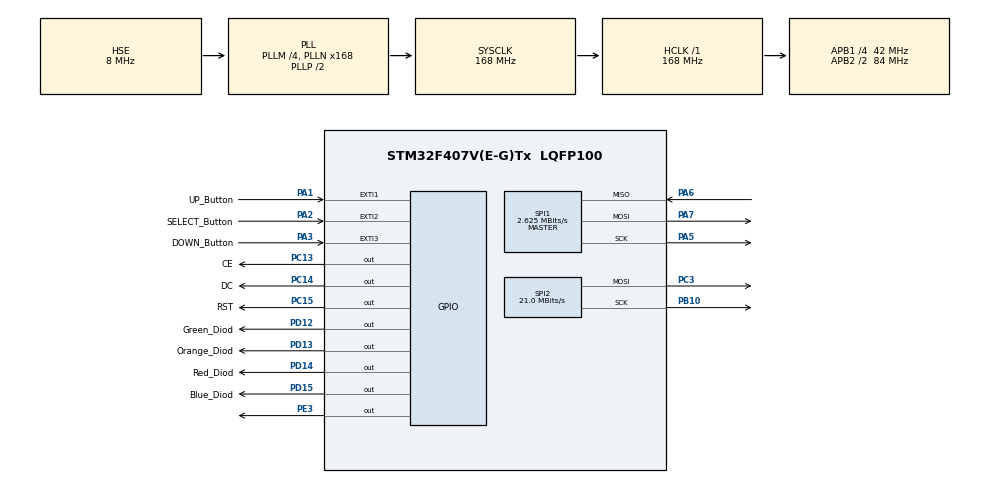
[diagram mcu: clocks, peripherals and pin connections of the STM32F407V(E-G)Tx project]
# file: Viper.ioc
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Mcu.Family=STM32F4
Mcu.Name=STM32F407V(E-G)Tx
Mcu.Package=LQFP100
NVIC.EXTI1_IRQn=true\:0\:0\:false\:false\:true\:true\:true
NVIC.EXTI2_IRQn=true\:0\:0\:false\:false\:true\:true\:true
NVIC.EXTI3_IRQn=true\:0\:0\:false\:false\:true\:true\:true
NVIC.PriorityGroup=NVIC_PRIORITYGROUP_4
NVIC.TIM4_IRQn=true\:0\:0\:false\:false\:true\:true\:true
PA1.GPIO_Label=UP_Button
PA1.GPIO_PuPd=GPIO_PULLDOWN
PA1.Signal=GPXTI1
PA2.GPIO_Label=SELECT_Button
PA2.GPIO_PuPd=GPIO_PULLDOWN
PA2.Signal=GPXTI2
PA3.GPIO_Label=DOWN_Button
PA3.GPIO_PuPd=GPIO_PULLDOWN
PA3.Signal=GPXTI3
PA5.Mode=Full_Duplex_Master
PA5.Signal=SPI1_SCK
PA6.Mode=Full_Duplex_Master
PA6.Signal=SPI1_MISO
PA7.Mode=Full_Duplex_Master
PA7.Signal=SPI1_MOSI
PB10.Mode=TX_Only_Simplex_Unidirect_Master
PB10.Signal=SPI2_SCK
PC13-ANTI_TAMP.GPIO_Label=CE
PC13-ANTI_TAMP.Signal=GPIO_Output
PC14-OSC32_IN.GPIO_Label=DC
PC14-OSC32_IN.Signal=GPIO_Output
PC15-OSC32_OUT.GPIO_Label=RST
PC15-OSC32_OUT.Signal=GPIO_Output
PC3.Mode=TX_Only_Simplex_Unidirect_Master
PC3.Signal=SPI2_MOSI
PD12.GPIO_Label=Green_Diod
PD12.Signal=GPIO_Output
PD13.GPIO_Label=Orange_Diod
PD13.Signal=GPIO_Output
PD14.GPIO_Label=Red_Diod
PD14.Signal=GPIO_Output
PD15.GPIO_Label=Blue_Diod
PD15.Signal=GPIO_Output
PE3.Signal=GPIO_Output
PH0-OSC_IN.Mode=HSE-External-Oscillator
PH0-OSC_IN.Signal=RCC_OSC_IN
PH1-OSC_OUT.Mode=HSE-External-Oscillator
PH1-OSC_OUT.Signal=RCC_OSC_OUT
ProjectManager.HeapSize=0x200
ProjectManager.StackSize=0x400
ProjectManager.TargetToolchain=SW4STM32
RCC.48MHZClocksFreq_Value=84000000
RCC.AHBFreq_Value=168000000
RCC.APB1CLKDivider=RCC_HCLK_DIV4
RCC.APB1Freq_Value=42000000
RCC.APB1TimFreq_Value=84000000
RCC.APB2CLKDivider=RCC_HCLK_DIV2
RCC.APB2Freq_Value=84000000
RCC.APB2TimFreq_Value=168000000
RCC.CortexFreq_Value=168000000
RCC.HCLKFreq_Value=168000000
RCC.HSE_VALUE=8000000
RCC.HSI_VALUE=16000000
RCC.LSE_VALUE=32768
RCC.PLLM=4
RCC.PLLN=168
RCC.PLLSourceVirtual=RCC_PLLSOURCE_HSE
RCC.SYSCLKFreq_VALUE=168000000
RCC.SYSCLKSource=RCC_SYSCLKSOURCE_PLLCLK
RCC.VCOOutputFreq_Value=336000000
SPI1.BaudRatePrescaler=SPI_BAUDRATEPRESCALER_32
SPI1.CalculateBaudRate=2.625 MBits/s
SPI1.Direction=SPI_DIRECTION_2LINES
SPI1.Mode=SPI_MODE_MASTER
SPI1.VirtualType=VM_MASTER
SPI2.BaudRatePrescaler=SPI_BAUDRATEPRESCALER_2
SPI2.CalculateBaudRate=21.0 MBits/s
SPI2.Direction=SPI_DIRECTION_2LINES
SPI2.Mode=SPI_MODE_MASTER
SPI2.VirtualType=VM_MASTER
TIM4.Period=4999
TIM4.Prescaler=8399
VP_TIM4_VS_ClockSourceINT.Mode=Internal
board=custom

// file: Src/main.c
/* USER CODE BEGIN Header */
/**
  ******************************************************************************
  * @file           : main.c
  * @brief          : Main program body
  ******************************************************************************
  * @attention
  *
  * <h2><center>&copy; Copyright (c) 2019 STMicroelectronics.
  * All rights reserved.</center></h2>
  *
  * This software component is licensed by ST under BSD 3-Clause license,
  * the "License"; You may not use this file except in compliance with the
  * License. You may obtain a copy of the License at:
  *                        opensource.org/licenses/BSD-3-Clause
  *
  ******************************************************************************
  */
/* USER CODE END Header */

#include "main.h"

/* USER CODE BEGIN Includes */
#include "logo.h"
#include "ScreenLib.h"
#include "Accelerometer.h"
#include "Defines.h"
#include "viper.h"
#include "gameEngineA.h"

/* USER CODE END Includes */

SPI_HandleTypeDef hspi1;
SPI_HandleTypeDef hspi2;

TIM_HandleTypeDef htim4;

/* USER CODE BEGIN PFP */
void SystemClock_Config(void);
static void MX_GPIO_Init(void);
static void MX_SPI1_Init(void);
static void MX_SPI2_Init(void);
static void MX_TIM4_Init(void);

volatile int button = 0;

void HAL_GPIO_EXTI_Callback(uint16_t GPIO_Pin) {

	if (HAL_GPIO_ReadPin(UP_Button_GPIO_Port, UP_Button_Pin) == GPIO_PIN_SET) {
		button = 0;
	} else if (HAL_GPIO_ReadPin(SELECT_Button_GPIO_Port, SELECT_Button_Pin) == GPIO_PIN_SET) {
		button = 1;
	} else if (HAL_GPIO_ReadPin(DOWN_Button_GPIO_Port, DOWN_Button_Pin) == GPIO_PIN_SET) {
		button = 2;
	}

	if (button == 0 && menuState == 0) {
		printMenu(0);
	}
	if (button == 0 && menuState == 1) {
		menuState = 0;
		printMenu(0);
	}
	if (button == 2 && menuState == 1) {
		printMenu(1);
	}
	if (button == 2 && menuState == 0) {
		menuState = 1;
		printMenu(1);
	}

	if (button == 1 && menuState == 0) {
		button = 0;
		menuState = 3;
	}
	if (button == 1 && menuState == 1) {
		lcdClear();
		lcdCopy();
		button = 0;
		menuState = 5;
	}
}

/* USER CODE END PFP */

int main(void)
{

  /* MCU Configuration--------------------------------------------------------*/

  /* Reset of all peripherals, Initializes the Flash interface and the Systick. */
  HAL_Init();

  /* Configure the system clock */
  SystemClock_Config();

  /* Initialize all configured peripherals */
  MX_GPIO_Init();
  MX_SPI1_Init();
  MX_SPI2_Init();
  MX_TIM4_Init();
  /* USER CODE BEGIN 2 */
  srand(time(NULL));
  menuState = 0;
  LISInit();	//inicjalizacja akcelerometru

  lcdInitScreen();

  printLogo(v_viper);
  printLogo(logo2);

  printMenu(0);

  setUP();

  /* USER CODE END 2 */

  /* Infinite loop */
  /* USER CODE BEGIN WHILE */
	while (1) {
		if (menuState == 3) {
			Draw();
			Input();
			Logic();
			if (gameOVER() == 1) {
				printGameOver();
				menuState = 4;
				for (int i = 0; i < 70000000; i++)
					;
				Restart();
			}
		}
		if (menuState == 4) {
			setUP();
			menuState = 0;
			printMenu(0);
		}

    /* USER CODE END WHILE */

  }
}

void SystemClock_Config(void)
{
  RCC_OscInitTypeDef RCC_OscInitStruct = {0};
  RCC_ClkInitTypeDef RCC_ClkInitStruct = {0};

  /** Configure the main internal regulator output voltage
  */
  __HAL_RCC_PWR_CLK_ENABLE();
  __HAL_PWR_VOLTAGESCALING_CONFIG(PWR_REGULATOR_VOLTAGE_SCALE1);
  /** Initializes the CPU, AHB and APB busses clocks
  */
  RCC_OscInitStruct.OscillatorType = RCC_OSCILLATORTYPE_HSE;
  RCC_OscInitStruct.HSEState = RCC_HSE_ON;
  RCC_OscInitStruct.PLL.PLLState = RCC_PLL_ON;
  RCC_OscInitStruct.PLL.PLLSource = RCC_PLLSOURCE_HSE;
  RCC_OscInitStruct.PLL.PLLM = 4;
  RCC_OscInitStruct.PLL.PLLN = 168;
  RCC_OscInitStruct.PLL.PLLP = RCC_PLLP_DIV2;
  RCC_OscInitStruct.PLL.PLLQ = 4;
  if (HAL_RCC_OscConfig(&RCC_OscInitStruct) != HAL_OK)
  {
    Error_Handler();
  }
  /** Initializes the CPU, AHB and APB busses clocks
  */
  RCC_ClkInitStruct.ClockType = RCC_CLOCKTYPE_HCLK|RCC_CLOCKTYPE_SYSCLK
                              |RCC_CLOCKTYPE_PCLK1|RCC_CLOCKTYPE_PCLK2;
  RCC_ClkInitStruct.SYSCLKSource = RCC_SYSCLKSOURCE_PLLCLK;
  RCC_ClkInitStruct.AHBCLKDivider = RCC_SYSCLK_DIV1;
  RCC_ClkInitStruct.APB1CLKDivider = RCC_HCLK_DIV4;
  RCC_ClkInitStruct.APB2CLKDivider = RCC_HCLK_DIV2;

  if (HAL_RCC_ClockConfig(&RCC_ClkInitStruct, FLASH_LATENCY_5) != HAL_OK)
  {
    Error_Handler();
  }
}

static void MX_SPI1_Init(void)
{

  /* SPI1 parameter configuration*/
  hspi1.Instance = SPI1;
  hspi1.Init.Mode = SPI_MODE_MASTER;
  hspi1.Init.Direction = SPI_DIRECTION_2LINES;
  hspi1.Init.DataSize = SPI_DATASIZE_8BIT;
  hspi1.Init.CLKPolarity = SPI_POLARITY_LOW;
  hspi1.Init.CLKPhase = SPI_PHASE_1EDGE;
  hspi1.Init.NSS = SPI_NSS_SOFT;
  hspi1.Init.BaudRatePrescaler = SPI_BAUDRATEPRESCALER_32;
  hspi1.Init.FirstBit = SPI_FIRSTBIT_MSB;
  hspi1.Init.TIMode = SPI_TIMODE_DISABLE;
  hspi1.Init.CRCCalculation = SPI_CRCCALCULATION_DISABLE;
  hspi1.Init.CRCPolynomial = 10;
  if (HAL_SPI_Init(&hspi1) != HAL_OK)
  {
    Error_Handler();
  }

}

static void MX_SPI2_Init(void)
{

  /* SPI2 parameter configuration*/
  hspi2.Instance = SPI2;
  hspi2.Init.Mode = SPI_MODE_MASTER;
  hspi2.Init.Direction = SPI_DIRECTION_2LINES;
  hspi2.Init.DataSize = SPI_DATASIZE_8BIT;
  hspi2.Init.CLKPolarity = SPI_POLARITY_LOW;
  hspi2.Init.CLKPhase = SPI_PHASE_1EDGE;
  hspi2.Init.NSS = SPI_NSS_SOFT;
  hspi2.Init.BaudRatePrescaler = SPI_BAUDRATEPRESCALER_2;
  hspi2.Init.FirstBit = SPI_FIRSTBIT_MSB;
  hspi2.Init.TIMode = SPI_TIMODE_DISABLE;
  hspi2.Init.CRCCalculation = SPI_CRCCALCULATION_DISABLE;
  hspi2.Init.CRCPolynomial = 10;
  if (HAL_SPI_Init(&hspi2) != HAL_OK)
  {
    Error_Handler();
  }

}

static void MX_TIM4_Init(void)
{

  TIM_ClockConfigTypeDef sClockSourceConfig = {0};
  TIM_MasterConfigTypeDef sMasterConfig = {0};

  htim4.Instance = TIM4;
  htim4.Init.Prescaler = 8399;
  htim4.Init.CounterMode = TIM_COUNTERMODE_UP;
  htim4.Init.Period = 4999;
  htim4.Init.ClockDivision = TIM_CLOCKDIVISION_DIV1;
  htim4.Init.AutoReloadPreload = TIM_AUTORELOAD_PRELOAD_DISABLE;
  if (HAL_TIM_Base_Init(&htim4) != HAL_OK)
  {
    Error_Handler();
  }
  sClockSourceConfig.ClockSource = TIM_CLOCKSOURCE_INTERNAL;
  if (HAL_TIM_ConfigClockSource(&htim4, &sClockSourceConfig) != HAL_OK)
  {
    Error_Handler();
  }
  sMasterConfig.MasterOutputTrigger = TIM_TRGO_RESET;
  sMasterConfig.MasterSlaveMode = TIM_MASTERSLAVEMODE_DISABLE;
  if (HAL_TIMEx_MasterConfigSynchronization(&htim4, &sMasterConfig) != HAL_OK)
  {
    Error_Handler();
  }

}

static void MX_GPIO_Init(void)
{
  GPIO_InitTypeDef GPIO_InitStruct = {0};

  /* GPIO Ports Clock Enable */
  __HAL_RCC_GPIOE_CLK_ENABLE();
  __HAL_RCC_GPIOC_CLK_ENABLE();
  __HAL_RCC_GPIOH_CLK_ENABLE();
  __HAL_RCC_GPIOA_CLK_ENABLE();
  __HAL_RCC_GPIOB_CLK_ENABLE();
  __HAL_RCC_GPIOD_CLK_ENABLE();

  /*Configure GPIO pin Output Level */
  HAL_GPIO_WritePin(GPIOE, GPIO_PIN_3, GPIO_PIN_RESET);

  /*Configure GPIO pin Output Level */
  HAL_GPIO_WritePin(GPIOC, CE_Pin|DC_Pin|RST_Pin, GPIO_PIN_RESET);

  /*Configure GPIO pin Output Level */
  HAL_GPIO_WritePin(GPIOD, Green_Diod_Pin|Orange_Diod_Pin|Red_Diod_Pin|Blue_Diod_Pin, GPIO_PIN_RESET);

  /*Configure GPIO pin : PE3 */
  GPIO_InitStruct.Pin = GPIO_PIN_3;
  GPIO_InitStruct.Mode = GPIO_MODE_OUTPUT_PP;
  GPIO_InitStruct.Pull = GPIO_NOPULL;
  GPIO_InitStruct.Speed = GPIO_SPEED_FREQ_LOW;
  HAL_GPIO_Init(GPIOE, &GPIO_InitStruct);

  /*Configure GPIO pins : CE_Pin DC_Pin RST_Pin */
  GPIO_InitStruct.Pin = CE_Pin|DC_Pin|RST_Pin;
  GPIO_InitStruct.Mode = GPIO_MODE_OUTPUT_PP;
  GPIO_InitStruct.Pull = GPIO_NOPULL;
  GPIO_InitStruct.Speed = GPIO_SPEED_FREQ_LOW;
  HAL_GPIO_Init(GPIOC, &GPIO_InitStruct);

  /*Configure GPIO pins : UP_Button_Pin SELECT_Button_Pin DOWN_Button_Pin */
  GPIO_InitStruct.Pin = UP_Button_Pin|SELECT_Button_Pin|DOWN_Button_Pin;
  GPIO_InitStruct.Mode = GPIO_MODE_IT_RISING;
  GPIO_InitStruct.Pull = GPIO_PULLDOWN;
  HAL_GPIO_Init(GPIOA, &GPIO_InitStruct);

  /*Configure GPIO pins : Green_Diod_Pin Orange_Diod_Pin Red_Diod_Pin Blue_Diod_Pin */
  GPIO_InitStruct.Pin = Green_Diod_Pin|Orange_Diod_Pin|Red_Diod_Pin|Blue_Diod_Pin;
  GPIO_InitStruct.Mode = GPIO_MODE_OUTPUT_PP;
  GPIO_InitStruct.Pull = GPIO_NOPULL;
  GPIO_InitStruct.Speed = GPIO_SPEED_FREQ_LOW;
  HAL_GPIO_Init(GPIOD, &GPIO_InitStruct);

  /* EXTI interrupt init*/
  HAL_NVIC_SetPriority(EXTI1_IRQn, 0, 0);
  HAL_NVIC_EnableIRQ(EXTI1_IRQn);

  HAL_NVIC_SetPriority(EXTI2_IRQn, 0, 0);
  HAL_NVIC_EnableIRQ(EXTI2_IRQn);

  HAL_NVIC_SetPriority(EXTI3_IRQn, 0, 0);
  HAL_NVIC_EnableIRQ(EXTI3_IRQn);

}

void Error_Handler(void)
{
}

/************************ (C) COPYRIGHT STMicroelectronics *****END OF FILE****/
